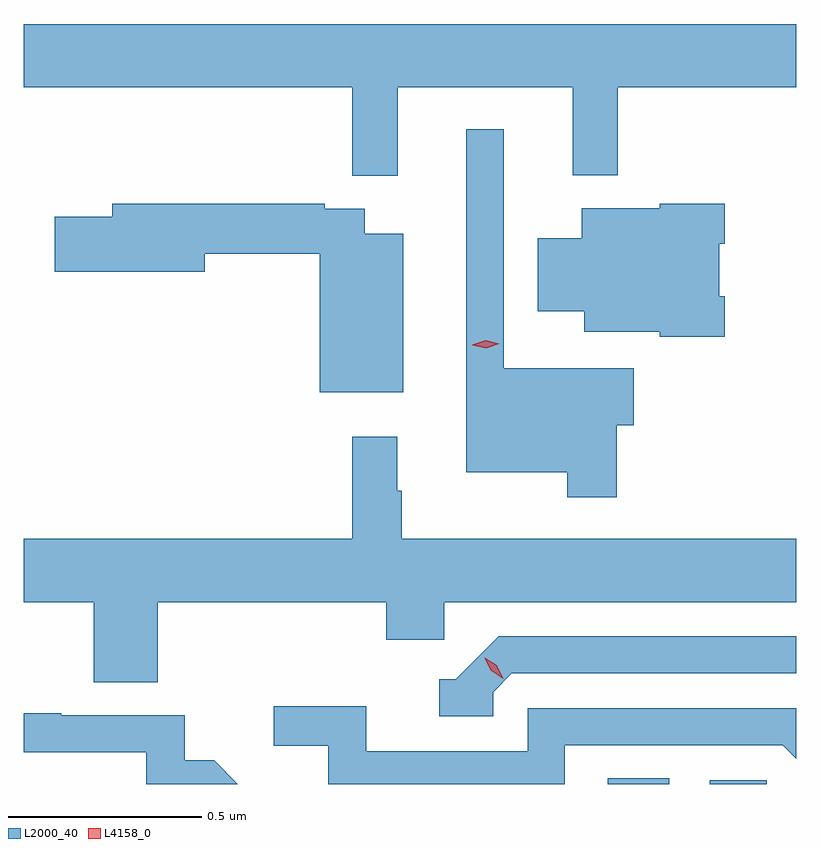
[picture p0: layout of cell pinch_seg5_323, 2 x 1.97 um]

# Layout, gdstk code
import gdstk
lib = gdstk.Library(unit=1e-6, precision=1e-09)
def R(c, l, rs):  # rectangles x0, y0, x1, y1
    for r in rs: c.add(gdstk.rectangle(r[:2], r[2:], *l))
def P(c, l, *ps):  # polygons
    for p in ps: c.add(gdstk.Polygon(p, *l))
L2000_40 = (2000, 40)
L4158_0 = (4158, 0)

pinch_seg5_323 = lib.new_cell('pinch_seg5_323')
R(pinch_seg5_323, L2000_40, [(922.899,873.605,923.058,873.62), (923.163,873.605,923.31,873.615)])
P(pinch_seg5_323, L2000_40, [(922.355,875.408),(922.808,875.408),(922.808,875.18),(922.925,875.18),(922.925,875.408),(923.387,875.408),(923.387,875.572),(921.387,875.572),(921.387,875.408),(922.237,875.408),(922.237,875.179),(922.355,875.179)],
  [(922.922,874.534),(922.966,874.534),(922.966,874.681),(922.629,874.681),(922.629,875.299),(922.532,875.299),(922.532,874.412),(922.794,874.412),(922.794,874.347),(922.922,874.347)],
  [(922.369,875.029),(922.27,875.029),(922.27,875.094),(922.166,875.094),(922.166,875.107),(921.617,875.107),(921.617,875.073),(921.468,875.073),(921.468,874.931),(921.856,874.931),(921.856,874.978),(922.154,874.978),(922.154,874.619),(922.369,874.619)],
  [(923.201,874.867),(923.188,874.867),(923.188,875.003),(923.201,875.003),(923.201,875.107),(923.034,875.107),(923.034,875.095),(922.832,875.095),(922.832,875.017),(922.718,875.017),(922.718,874.829),(922.838,874.829),(922.838,874.775),(923.034,874.775),(923.034,874.763),(923.201,874.763)],
  [(921.734,874.076),(922.325,874.076),(922.325,873.978),(922.476,873.978),(922.476,874.076),(923.387,874.076),(923.387,874.24),(922.366,874.24),(922.366,874.364),(922.354,874.364),(922.354,874.504),(922.237,874.504),(922.237,874.24),(921.387,874.24),(921.387,874.076),(921.569,874.076),(921.569,873.868),(921.734,873.868)],
  [(922.602,873.843),(922.65,873.891),(923.387,873.891),(923.387,873.987),(922.617,873.987),(922.506,873.876),(922.463,873.876),(922.463,873.78),(922.602,873.78)],
  [(922.788,873.705),(923.352,873.705),(923.387,873.67),(923.387,873.801),(922.692,873.801),(922.692,873.69),(922.274,873.69),(922.274,873.806),(922.035,873.806),(922.035,873.704),(922.176,873.704),(922.176,873.605),(922.788,873.605)],
  [(921.88,873.666),(921.804,873.666),(921.804,873.783),(921.485,873.783),(921.485,873.788),(921.387,873.788),(921.387,873.687),(921.705,873.687),(921.705,873.605),(921.941,873.605)])
P(pinch_seg5_323, L4158_0, [(922.584,874.733),(922.548,874.741),(922.548,874.742),(922.548,874.742),(922.583,874.753),(922.618,874.745),(922.619,874.745),(922.618,874.744)],
  [(922.628,873.878),(922.597,873.898),(922.581,873.931),(922.581,873.932),(922.581,873.932),(922.612,873.912),(922.628,873.879),(922.628,873.878)])

lib.write_gds('pinch_seg5_323.gds')
